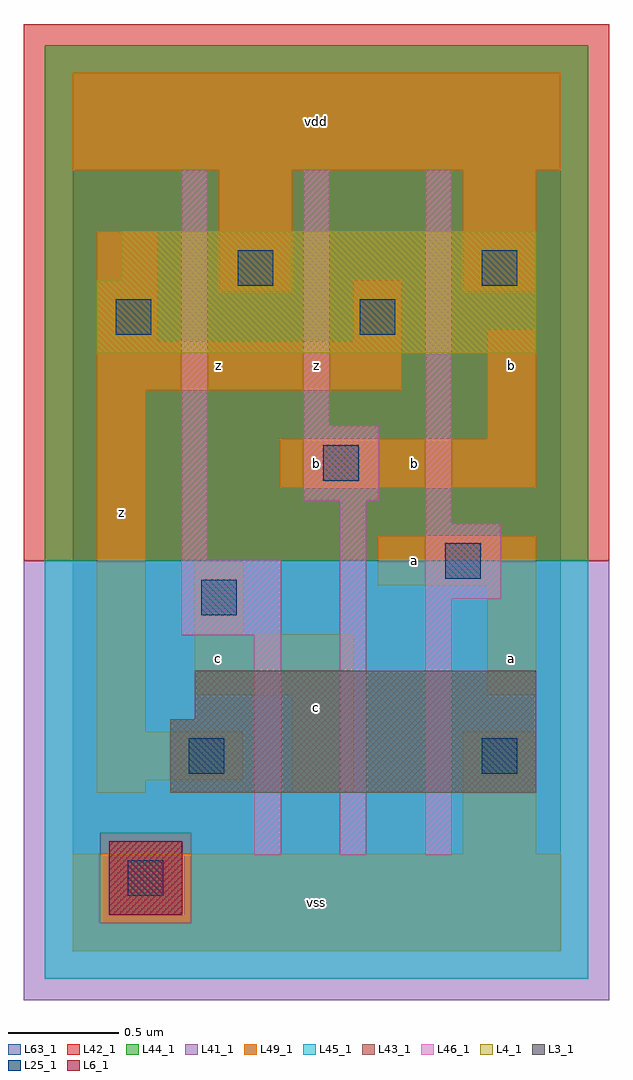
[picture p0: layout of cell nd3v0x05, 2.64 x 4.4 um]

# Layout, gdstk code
import gdstk
lib = gdstk.Library(unit=1e-6, precision=1e-09)
def R(c, l, rs):  # rectangles x0, y0, x1, y1
    for r in rs: c.add(gdstk.rectangle(r[:2], r[2:], *l))
L3_1 = (3, 1)
L4_1 = (4, 1)
L6_1 = (6, 1)
L25_1 = (25, 1)
L41_1 = (41, 1)
L42_1 = (42, 1)
L43_1 = (43, 1)
L44_1 = (44, 1)
L45_1 = (45, 1)
L46_1 = (46, 1)
L49_1 = (49, 1)
L63_1 = (63, 1)

nd3v0x05 = lib.new_cell('nd3v0x05')
R(nd3v0x05, L3_1, [(0.44,0.715,2.09,1.045), (0.55,1.045,2.09,1.265)])
R(nd3v0x05, L4_1, [(0.11,2.695,2.09,3.025), (0.22,3.025,2.09,3.245)])
R(nd3v0x05, L6_1, [(0.165,0.165,0.495,0.495)])
R(nd3v0x05, L25_1, [(0.25,0.25,0.41,0.41), (0.525,0.8,0.685,0.96), (1.845,0.8,2.005,0.96), (0.58,1.515,0.74,1.675), (1.68,1.68,1.84,1.84), (1.13,2.12,1.29,2.28), (0.195,2.78,0.355,2.94), (1.295,2.78,1.455,2.94), (0.745,3,0.905,3.16), (1.845,3,2.005,3.16)])
R(nd3v0x05, L41_1, [(-0.22,-0.22,2.42,1.76)])
R(nd3v0x05, L42_1, [(-0.22,1.76,2.42,4.18)])
R(nd3v0x05, L43_1, [(0.165,0.165,0.495,0.495), (0.44,0.715,2.09,1.045), (0.55,1.045,2.09,1.265), (0.11,2.695,2.09,3.025), (0.22,3.025,2.09,3.245)])
R(nd3v0x05, L44_1, [(0.125,0.125,0.535,0.535), (-0.125,1.76,2.325,4.085)])
R(nd3v0x05, L45_1, [(-0.125,-0.125,2.325,0.125), (-0.125,0.125,0.125,0.535), (0.535,0.125,2.325,0.535), (-0.125,0.535,2.325,1.76)])
R(nd3v0x05, L46_1, [(0.82,0.435,0.94,1.425), (1.205,0.435,1.325,2.03), (1.59,0.435,1.71,1.59), (0.49,1.425,0.94,1.765), (1.59,1.59,1.93,1.93), (0.49,1.765,0.61,3.525), (1.59,1.93,1.71,3.525), (1.04,2.03,1.38,2.37), (1.04,2.37,1.16,3.525)])
R(nd3v0x05, L49_1, [(0,0,2.2,0.44), (1.76,0.44,2.09,0.99), (0.11,0.715,0.33,0.77), (0.99,0.715,1.265,1.155), (0.11,0.77,0.77,0.99), (0.11,0.99,0.33,2.53), (0.55,1.155,1.265,1.43), (1.87,1.155,2.09,1.65), (0.55,1.43,0.77,1.76), (1.375,1.65,2.09,1.87), (0.935,2.09,2.09,2.31), (1.87,2.31,2.09,2.805), (0.11,2.53,1.485,2.75), (0.11,2.75,0.385,3.245), (1.265,2.75,1.485,3.025), (0.66,2.97,0.99,3.52), (1.76,2.97,2.09,3.52), (0,3.52,2.2,3.96)])
R(nd3v0x05, L63_1, [(0,0,2.2,3.96)])
nd3v0x05.add(gdstk.Label('z', (0.22,1.98), layer=49, texttype=1))
nd3v0x05.add(gdstk.Label('c', (0.66,1.32), layer=49, texttype=1))
nd3v0x05.add(gdstk.Label('z', (0.66,2.64), layer=49, texttype=1))
nd3v0x05.add(gdstk.Label('vss', (1.1,0.22), layer=49, texttype=1))
nd3v0x05.add(gdstk.Label('c', (1.1,1.1), layer=49, texttype=1))
nd3v0x05.add(gdstk.Label('a', (1.54,1.76), layer=49, texttype=1))
nd3v0x05.add(gdstk.Label('b', (1.54,2.2), layer=49, texttype=1))
nd3v0x05.add(gdstk.Label('b', (1.1,2.2), layer=49, texttype=1))
nd3v0x05.add(gdstk.Label('z', (1.1,2.64), layer=49, texttype=1))
nd3v0x05.add(gdstk.Label('vdd', (1.1,3.74), layer=49, texttype=1))
nd3v0x05.add(gdstk.Label('a', (1.98,1.32), layer=49, texttype=1))
nd3v0x05.add(gdstk.Label('b', (1.98,2.64), layer=49, texttype=1))

lib.write_gds('nd3v0x05.gds')
